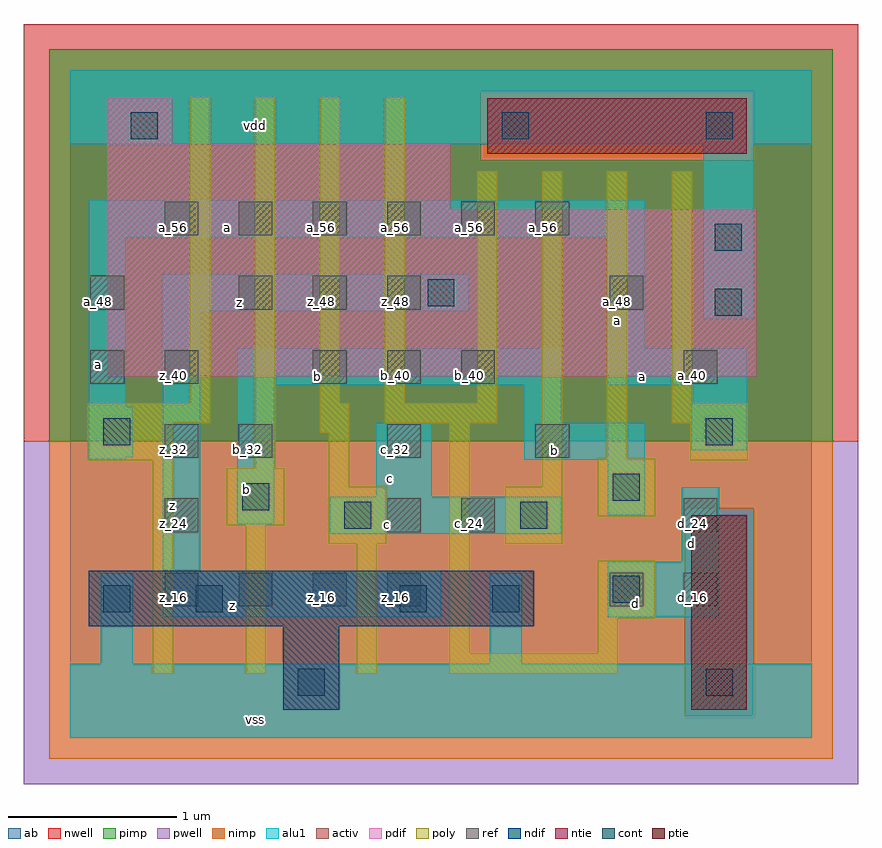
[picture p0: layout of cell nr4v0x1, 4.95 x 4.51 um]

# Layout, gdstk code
import gdstk
lib = gdstk.Library(unit=1e-6, precision=2.5e-09)
def R(c, l, rs):  # rectangles x0, y0, x1, y1
    for r in rs: c.add(gdstk.rectangle(r[:2], r[2:], *l))
def A(c, l, x, y, w, h, nx, ny, dx, dy):  # array of equal rectangles
    R(c, l, [(x+i*dx, y+j*dy, x+i*dx+w, y+j*dy+h) for i in range(nx) for j in range(ny)])
ndif = (3, 0)
pdif = (4, 0)
ntie = (5, 0)
ptie = (6, 0)
ref = (24, 0)
cont = (25, 0)
pwell = (41, 0)
nwell = (42, 0)
activ = (43, 0)
pimp = (44, 0)
nimp = (45, 0)
poly = (46, 0)
alu1 = (49, 0)
ab = (63, 0)

nr4v0x1 = lib.new_cell('nr4v0x1')
R(nr4v0x1, ndif, [(1.265,0.165,1.595,0.66), (0.11,0.66,2.75,0.99)])
R(nr4v0x1, pdif, [(0.22,2.145,4.07,3.135), (0.22,3.135,2.255,3.52), (0.22,3.52,0.605,3.795)])
R(nr4v0x1, ntie, [(2.475,3.465,4.015,3.795)])
R(nr4v0x1, ptie, [(3.685,0.165,4.015,1.32)])
A(nr4v0x1, ref, 0.56, 0.78, 0.2, 0.2, 4, 1, 0.44, 0)
A(nr4v0x1, ref, 0.56, 1.22, 0.2, 0.2, 1, 3, 0, 0.44)
A(nr4v0x1, ref, 1, 1.66, 0.2, 0.2, 3, 1, 0.88, 0)
A(nr4v0x1, ref, 1.44, 2.1, 0.2, 0.2, 3, 1, 0.44, 0)
A(nr4v0x1, ref, 1, 2.54, 0.2, 0.2, 3, 1, 0.44, 0)
A(nr4v0x1, ref, 0.56, 2.98, 0.2, 0.2, 6, 1, 0.44, 0)
R(nr4v0x1, ref, [(3.2,0.78,3.4,0.98), (3.64,0.78,3.84,0.98), (1.88,1.22,2.08,1.42), (2.32,1.22,2.52,1.42), (3.64,1.22,3.84,1.42), (0.12,2.1,0.32,2.3), (3.64,2.1,3.84,2.3), (0.12,2.54,0.32,2.74), (3.2,2.54,3.4,2.74)])
R(nr4v0x1, cont, [(1.35,0.25,1.51,0.41), (3.77,0.25,3.93,0.41), (0.195,0.745,0.355,0.905), (0.745,0.745,0.905,0.905), (1.955,0.745,2.115,0.905), (2.505,0.745,2.665,0.905), (3.22,0.8,3.38,0.96), (1.625,1.24,1.785,1.4), (2.67,1.24,2.83,1.4), (1.02,1.35,1.18,1.51), (3.22,1.405,3.38,1.565), (0.195,1.735,0.355,1.895), (3.77,1.735,3.93,1.895), (3.825,2.505,3.985,2.665), (2.12,2.56,2.28,2.72), (3.825,2.89,3.985,3.05), (0.36,3.55,0.52,3.71), (2.56,3.55,2.72,3.71), (3.77,3.55,3.93,3.71)])
R(nr4v0x1, pwell, [(-0.275,-0.275,4.675,1.76)])
R(nr4v0x1, nwell, [(-0.275,1.76,4.675,4.235)])
R(nr4v0x1, activ, [(1.265,0.165,1.595,0.66), (3.685,0.165,4.015,1.32), (0.11,0.66,2.75,0.99), (0.22,2.145,4.07,3.135), (0.22,3.135,2.255,3.52), (2.475,3.465,4.015,3.795), (0.22,3.52,0.605,3.795)])
R(nr4v0x1, pimp, [(3.645,0.125,4.055,1.36), (-0.125,1.76,4.525,3.425), (-0.125,3.425,2.435,3.835), (4.055,3.425,4.525,3.835), (-0.125,3.835,4.525,4.085)])
R(nr4v0x1, nimp, [(-0.125,-0.125,4.525,0.125), (-0.125,0.125,3.645,1.36), (4.055,0.125,4.525,1.36), (-0.125,1.36,4.525,1.76), (2.435,3.425,4.055,3.835)])
R(nr4v0x1, poly, [(0.49,0.38,0.61,1.645), (1.04,0.38,1.16,1.26), (1.7,0.38,1.82,1.15), (2.25,0.38,3.25,0.5), (2.25,0.5,2.37,1.865), (3.13,0.5,3.25,0.71), (3.13,0.71,3.47,1.05), (1.535,1.15,1.875,1.49), (2.58,1.15,2.92,1.49), (0.93,1.26,1.27,1.6), (3.13,1.315,3.47,1.655), (1.535,1.49,1.655,1.81), (2.8,1.49,2.92,3.36), (1.095,1.6,1.215,3.8), (0.105,1.645,0.61,1.865), (3.68,1.645,4.02,1.865), (3.185,1.655,3.305,3.36), (1.48,1.81,1.655,1.985), (0.105,1.865,0.83,1.985), (1.865,1.865,2.535,1.985), (3.57,1.865,4.02,1.985), (0.71,1.985,0.83,3.8), (1.48,1.985,1.6,3.8), (1.865,1.985,1.985,3.8), (2.415,1.985,2.535,3.36), (3.57,1.985,3.69,3.36)])
R(nr4v0x1, alu1, [(0,0,4.4,0.44), (0.18,0.44,0.37,0.975), (2.49,0.44,2.68,0.975), (0.55,0.715,2.2,0.99), (3.19,0.715,3.85,1.045), (0.55,0.99,0.77,2.53), (3.63,1.045,3.85,1.485), (1.54,1.21,2.915,1.43), (0.99,1.265,1.21,2.09), (3.19,1.32,3.41,1.65), (1.815,1.43,2.145,1.87), (0.11,1.65,0.33,1.665), (2.695,1.65,3.41,1.87), (0.11,1.665,0.37,1.965), (3.685,1.705,4.015,2.09), (2.695,1.87,2.915,2.09), (0.11,1.965,0.33,2.97), (0.99,2.09,2.915,2.31), (3.19,2.09,4.015,2.31), (3.19,2.31,3.41,2.97), (3.755,2.49,4.055,3.52), (0.55,2.53,2.365,2.75), (0.11,2.97,3.41,3.19), (0,3.52,4.4,3.96)])
R(nr4v0x1, ab, [(0,0,4.4,3.96)])
nr4v0x1.add(gdstk.Label('vss', (1.1,0.11), layer=49, texttype=0))
nr4v0x1.add(gdstk.Label('d', (3.355,0.7975), layer=49, texttype=0))
nr4v0x1.add(gdstk.Label('z', (0.9625,0.7825), layer=49, texttype=0))
nr4v0x1.add(gdstk.Label('d', (3.685,1.155), layer=49, texttype=0))
nr4v0x1.add(gdstk.Label('c', (1.8825,1.265), layer=49, texttype=0))
nr4v0x1.add(gdstk.Label('b', (2.8725,1.705), layer=49, texttype=0))
nr4v0x1.add(gdstk.Label('c', (1.8975,1.54), layer=49, texttype=0))
nr4v0x1.add(gdstk.Label('b', (1.045,1.47), layer=49, texttype=0))
nr4v0x1.add(gdstk.Label('a', (3.395,2.145), layer=49, texttype=0))
nr4v0x1.add(gdstk.Label('b', (1.47,2.145), layer=49, texttype=0))
nr4v0x1.add(gdstk.Label('a', (3.245,2.475), layer=49, texttype=0))
nr4v0x1.add(gdstk.Label('z', (0.605,1.375), layer=49, texttype=0))
nr4v0x1.add(gdstk.Label('z', (1.0025,2.585), layer=49, texttype=0))
nr4v0x1.add(gdstk.Label('a', (0.165,2.215), layer=49, texttype=0))
nr4v0x1.add(gdstk.Label('a', (0.935,3.025), layer=49, texttype=0))
nr4v0x1.add(gdstk.Label('vdd', (1.1,3.63), layer=49, texttype=0))
nr4v0x1.add(gdstk.Label('a_40', (3.69,2.15), layer=24, texttype=0))
nr4v0x1.add(gdstk.Label('d_24', (3.69,1.27), layer=24, texttype=0))
nr4v0x1.add(gdstk.Label('d_16', (3.69,0.83), layer=24, texttype=0))
nr4v0x1.add(gdstk.Label('a_48', (3.25,2.59), layer=24, texttype=0))
nr4v0x1.add(gdstk.Label('d_16', (3.25,0.83), layer=24, texttype=0))
nr4v0x1.add(gdstk.Label('a_56', (2.81,3.03), layer=24, texttype=0))
nr4v0x1.add(gdstk.Label('b_32', (2.81,1.71), layer=24, texttype=0))
nr4v0x1.add(gdstk.Label('a_56', (2.37,3.03), layer=24, texttype=0))
nr4v0x1.add(gdstk.Label('b_40', (2.37,2.15), layer=24, texttype=0))
nr4v0x1.add(gdstk.Label('c_24', (2.37,1.27), layer=24, texttype=0))
nr4v0x1.add(gdstk.Label('a_48', (0.17,2.59), layer=24, texttype=0))
nr4v0x1.add(gdstk.Label('a_40', (0.17,2.15), layer=24, texttype=0))
nr4v0x1.add(gdstk.Label('a_56', (1.93,3.03), layer=24, texttype=0))
nr4v0x1.add(gdstk.Label('z_48', (1.93,2.59), layer=24, texttype=0))
nr4v0x1.add(gdstk.Label('b_40', (1.93,2.15), layer=24, texttype=0))
nr4v0x1.add(gdstk.Label('c_32', (1.93,1.71), layer=24, texttype=0))
nr4v0x1.add(gdstk.Label('c_24', (1.93,1.27), layer=24, texttype=0))
nr4v0x1.add(gdstk.Label('z_16', (1.93,0.83), layer=24, texttype=0))
nr4v0x1.add(gdstk.Label('a_56', (1.49,3.03), layer=24, texttype=0))
nr4v0x1.add(gdstk.Label('z_48', (1.49,2.59), layer=24, texttype=0))
nr4v0x1.add(gdstk.Label('b_40', (1.49,2.15), layer=24, texttype=0))
nr4v0x1.add(gdstk.Label('z_16', (1.49,0.83), layer=24, texttype=0))
nr4v0x1.add(gdstk.Label('a_56', (1.05,3.03), layer=24, texttype=0))
nr4v0x1.add(gdstk.Label('z_48', (1.05,2.59), layer=24, texttype=0))
nr4v0x1.add(gdstk.Label('b_32', (1.05,1.71), layer=24, texttype=0))
nr4v0x1.add(gdstk.Label('z_16', (1.05,0.83), layer=24, texttype=0))
nr4v0x1.add(gdstk.Label('a_56', (0.61,3.03), layer=24, texttype=0))
nr4v0x1.add(gdstk.Label('z_40', (0.61,2.15), layer=24, texttype=0))
nr4v0x1.add(gdstk.Label('z_32', (0.61,1.71), layer=24, texttype=0))
nr4v0x1.add(gdstk.Label('z_24', (0.61,1.27), layer=24, texttype=0))
nr4v0x1.add(gdstk.Label('z_16', (0.61,0.83), layer=24, texttype=0))

lib.write_gds('nr4v0x1.gds')
